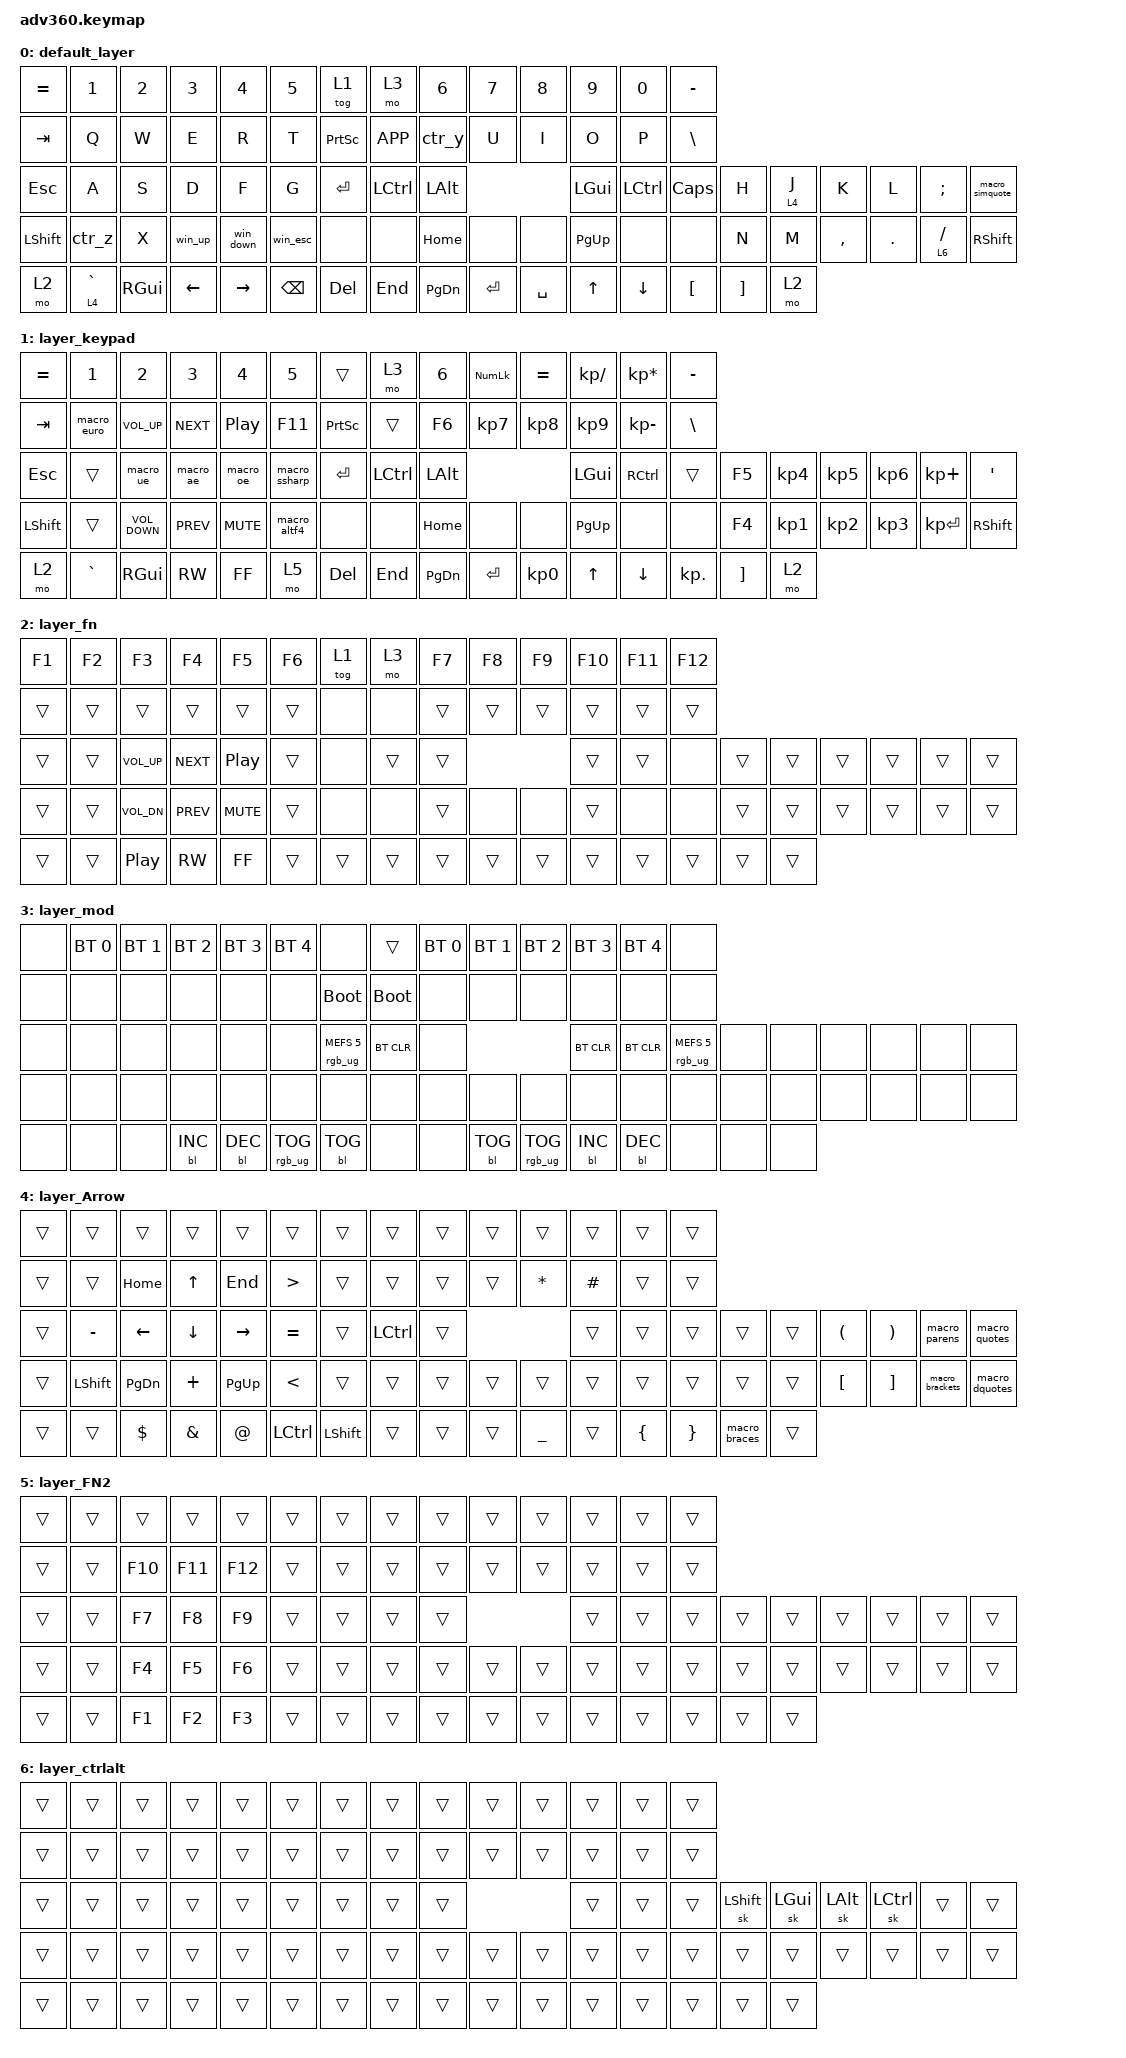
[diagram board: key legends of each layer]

/*
 * Copyright (c) 2020 The ZMK Contributors
 *
 * SPDX-License-Identifier: MIT
 */


/* THIS FILE WAS GENERATED!
 *
 * This file was generated automatically. You may or may not want to
 * edit it directly.
 */

#include <behaviors.dtsi>
#include <dt-bindings/zmk/keys.h>
#include <dt-bindings/zmk/bt.h>
#include <dt-bindings/zmk/rgb.h>
#include <dt-bindings/zmk/backlight.h>

/ {
  behaviors {
    #include "macros.dtsi"

    hm: homerow_mods {
        compatible = "zmk,behavior-hold-tap";
        label = "HOMEROW_MODS";
        #binding-cells = <2>;
        tapping-term-ms = <200>;
        quick_tap_ms = <175>;
        flavor = "tap-preferred";
        bindings = <&kp>, <&kp>;
    };
        ctr_z: control_z {
            compatible = "zmk,behavior-mod-morph";
            label = "CONTROL_Z";
            #binding-cells = <0>;
            bindings = <&lt 1 Y>, <&kp Z>;
            mods = <(MOD_LCTL)>;
            keep-mods = <(MOD_LCTL)>;
        };
        ctr_y: control_y {
            compatible = "zmk,behavior-mod-morph";
            label = "CONTROL_Y";
            #binding-cells = <0>;
            bindings = <&kp Z>, <&kp Y>;
            mods = <(MOD_LCTL)>;
            keep-mods = <(MOD_LCTL)>;
        };
        win_up: windows_up {
            compatible = "zmk,behavior-mod-morph";
            label = "WINDOWS_UP";
            #binding-cells = <0>;
            bindings = <&kp C>, <&kp UP>;
            mods = <(MOD_RGUI)>;
            keep-mods = <(MOD_RGUI)>;
        };
        win_down: windows_down {
            compatible = "zmk,behavior-mod-morph";
            label = "WINDOWS_DOWN";
            #binding-cells = <0>;
            bindings = <&kp V>, <&kp DOWN>;
            mods = <(MOD_RGUI)>;
            keep-mods = <(MOD_RGUI)>;
        };
        win_esc: windows_esc {
            compatible = "zmk,behavior-mod-morph";
            label = "WINDOWS_ESC";
            #binding-cells = <0>;
            bindings = <&kp B>, <&kp ESC>;
            mods = <(MOD_RGUI)>;
        };
        tdu: tap_dance_u {
            compatible = "zmk,behavior-tap-dance";
            label = "TAP_DANCE_U";
            #binding-cells = <0>;
            tapping-term-ms = <200>;
            bindings = <&kp U>, <&macro_ue>;
        };
  };

    keymap {
        compatible = "zmk,keymap";


        default_layer {
            bindings = <
 &kp EQUAL       &kp N1     &kp N2    &kp N3     &kp N4    &kp N5                     &tog 1      &mo 3        &kp N6     &kp N7     &kp N8     &kp N9     &kp N0  &kp MINUS
   &kp TAB        &kp Q      &kp W     &kp E      &kp R     &kp T            &kp PRINTSCREEN  &kp K_APP         &ctr_y      &kp U      &kp I      &kp O      &kp P   &kp BSLH
   &kp ESC        &kp A      &kp S     &kp D      &kp F     &kp G                   &kp ENTER  &kp LCTRL  &kp LEFT_ALT                         &kp LGUI  &kp LCTRL   &kp CAPS     &kp H  &lt 4 J      &kp K    &kp L  &kp SEMI  &macro_simquote
 &kp LSHFT      &ctr_z      &kp X     &win_up      &win_down     &win_esc                      &none      &none      &kp HOME      &none      &none  &kp PG_UP      &none      &none     &kp N    &kp M  &kp COMMA  &kp DOT  &lt 6 FSLH  &kp RIGHT_SHIFT
     &mo 2  &lt 4 GRAVE  &kp RGUI  &kp LEFT  &kp RIGHT  &kp BSPC                    &kp DEL    &kp END     &kp PG_DN  &kp ENTER  &kp SPACE     &kp UP   &kp DOWN   &kp LBKT  &kp RBKT    &mo 2
            >;
        };

        layer_keypad {
            bindings = <
 &kp EQUAL       &kp N1             &kp N2      &kp N3      &kp N4         &kp N5                     &trans      &mo 3     &kp N6  &kp KP_NUM  &kp EQUAL  &kp KP_DIVIDE  &kp KP_MULTIPLY   &kp MINUS
   &kp TAB  &macro_euro          &kp C_VOL_UP  &kp C_NEXT    &kp C_PP          &kp F11            &kp PRINTSCREEN     &trans      &kp F6   &kp KP_N7  &kp KP_N8      &kp KP_N9     &kp KP_MINUS    &kp BSLH
   &kp ESC       &trans          &macro_ue   &macro_ae   &macro_oe  &macro_ssharp            &kp ENTER  &kp LCTRL   &kp LALT                              &kp LGUI        &kp RCTRL      &trans     &kp F5  &kp KP_N4  &kp KP_N5  &kp KP_N6   &kp KP_PLUS    &kp SQT
 &kp LSHFT       &trans  &kp C_VOLUME_DOWN  &kp C_PREV  &kp C_MUTE          &macro_altf4                      &none      &none   &kp HOME       &none      &none      &kp PG_UP            &none       &none     &kp F4  &kp KP_N1  &kp KP_N2  &kp KP_N3  &kp KP_ENTER  &kp RSHFT
     &mo 2    &kp GRAVE          &kp RGUI    &kp C_RW    &kp C_FF          &mo 5                    &kp DEL    &kp END  &kp PG_DN   &kp ENTER  &kp KP_N0         &kp UP         &kp DOWN  &kp KP_DOT  &kp RBKT      &mo 2
            >;
        };

        layer_fn {
            bindings = <
 &kp F1  &kp F2            &kp F3      &kp F4      &kp F5  &kp F6            &tog 1   &mo 3  &kp F7  &kp F8  &kp F9  &kp F10  &kp F11  &kp F12
 &trans  &trans            &trans      &trans      &trans  &trans             &none   &none  &trans  &trans  &trans   &trans   &trans   &trans
 &trans  &trans      &kp C_VOL_UP  &kp C_NEXT    &kp C_PP  &trans             &none  &trans  &trans                   &trans   &trans    &none  &trans  &trans  &trans  &trans  &trans  &trans
 &trans  &trans      &kp C_VOL_DN  &kp C_PREV  &kp C_MUTE  &trans             &none   &none  &trans   &none   &none   &trans    &none    &none  &trans  &trans  &trans  &trans  &trans  &trans
 &trans  &trans  &kp C_PLAY_PAUSE    &kp C_RW    &kp C_FF  &trans            &trans  &trans  &trans  &trans  &trans   &trans   &trans   &trans  &trans  &trans
            >;
        };

        layer_mod {
            bindings = <
  &none  &bt BT_SEL 0  &bt BT_SEL 1  &bt BT_SEL 2  &bt BT_SEL 3     &bt BT_SEL 4                             &none       &trans  &bt BT_SEL 0  &bt BT_SEL 1     &bt BT_SEL 2  &bt BT_SEL 3  &bt BT_SEL 4                   &none
  &none         &none         &none         &none         &none            &none                       &bootloader  &bootloader         &none         &none            &none         &none         &none                   &none
  &none         &none         &none         &none         &none            &none            &rgb_ug RGB_MEFS_CMD 5   &bt BT_CLR         &none                                   &bt BT_CLR    &bt BT_CLR  &rgb_ug RGB_MEFS_CMD 5   &none   &none   &none   &none   &none   &none
  &none         &none         &none         &none         &none            &none                             &none        &none         &none         &none            &none         &none         &none                   &none   &none   &none   &none   &none   &none   &none
  &none         &none         &none    &bl BL_INC    &bl BL_DEC  &rgb_ug RGB_TOG                        &bl BL_TOG        &none         &none    &bl BL_TOG  &rgb_ug RGB_TOG    &bl BL_INC    &bl BL_DEC                   &none   &none   &none
            >;
        };

        layer_Arrow {
            bindings = <
 &trans          &trans          &trans          &trans           &trans            &trans                    &trans            &trans  &trans  &trans          &trans    &trans          &trans           &trans
 &trans          &trans        &kp HOME    &kp UP_ARROW          &kp END         &kp GREATER_THAN                    &trans            &trans  &trans  &trans        &kp STAR  &kp HASH          &trans           &trans
 &trans          &kp MINUS  &kp LEFT_ARROW  &kp DOWN_ARROW  &kp RIGHT_ARROW  &kp EQUAL                    &trans  &kp LEFT_CONTROL  &trans                            &trans          &trans           &trans         &trans  &trans  &kp LEFT_PARENTHESIS  &kp RIGHT_PARENTHESIS    &macro_parens   &macro_quotes
 &trans  &kp LEFT_SHIFT        &kp PG_DN       &kp PLUS          &kp PG_UP     &kp LESS_THAN                    &trans            &trans  &trans  &trans          &trans    &trans          &trans           &trans         &trans  &trans      &kp LEFT_BRACKET      &kp RIGHT_BRACKET  &macro_brackets  &macro_dquotes
 &trans          &trans       &kp DOLLAR       &kp AMPERSAND         &kp AT         &kp LCTRL            &kp LEFT_SHIFT            &trans  &trans  &trans  &kp UNDERSCORE    &trans  &kp LEFT_BRACE  &kp RIGHT_BRACE  &macro_braces  &trans
            >;
        };

        layer_FN2 {
            bindings = <
 &trans  &trans   &trans   &trans   &trans  &trans            &trans  &trans  &trans  &trans  &trans  &trans  &trans  &trans
 &trans  &trans  &kp F10  &kp F11  &kp F12  &trans            &trans  &trans  &trans  &trans  &trans  &trans  &trans  &trans
 &trans  &trans   &kp F7   &kp F8   &kp F9  &trans            &trans  &trans  &trans                  &trans  &trans  &trans  &trans  &trans  &trans  &trans  &trans  &trans
 &trans  &trans   &kp F4   &kp F5   &kp F6  &trans            &trans  &trans  &trans  &trans  &trans  &trans  &trans  &trans  &trans  &trans  &trans  &trans  &trans  &trans
 &trans  &trans   &kp F1   &kp F2   &kp F3  &trans            &trans  &trans  &trans  &trans  &trans  &trans  &trans  &trans  &trans  &trans
            >;
        };

        layer_ctrlalt {
            bindings = <
 &trans  &trans  &trans  &trans  &trans  &trans            &trans  &trans  &trans  &trans  &trans  &trans  &trans  &trans
 &trans  &trans  &trans  &trans  &trans  &trans            &trans  &trans  &trans  &trans  &trans  &trans  &trans  &trans
 &trans  &trans  &trans  &trans  &trans  &trans            &trans  &trans  &trans                  &trans  &trans  &trans  &sk LEFT_SHIFT  &sk LGUI  &sk LEFT_ALT  &sk LCTRL  &trans  &trans
 &trans  &trans  &trans  &trans  &trans  &trans            &trans  &trans  &trans  &trans  &trans  &trans  &trans  &trans          &trans        &trans        &trans     &trans  &trans  &trans
 &trans  &trans  &trans  &trans  &trans  &trans            &trans  &trans  &trans  &trans  &trans  &trans  &trans  &trans          &trans        &trans
            >;
        };
    };
};
